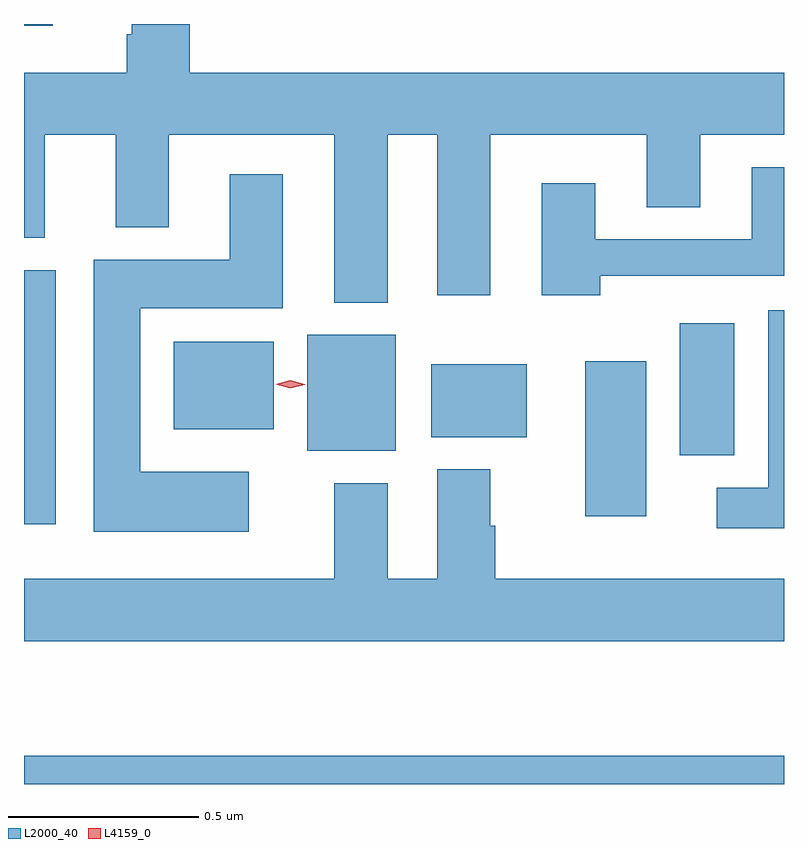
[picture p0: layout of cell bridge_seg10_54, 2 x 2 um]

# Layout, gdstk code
import gdstk
lib = gdstk.Library(unit=1e-6, precision=1e-09)
def R(c, l, rs):  # rectangles x0, y0, x1, y1
    for r in rs: c.add(gdstk.rectangle(r[:2], r[2:], *l))
def P(c, l, *ps):  # polygons
    for p in ps: c.add(gdstk.Polygon(p, *l))
L2000_40 = (2000, 40)
L4159_0 = (4159, 0)

bridge_seg10_54 = lib.new_cell('bridge_seg10_54')
R(bridge_seg10_54, L2000_40, [(866.92,1274.632,868.92,1274.707), (866.92,1275.315,867.004,1275.984), (868.397,1275.336,868.558,1275.745), (868.646,1275.497,868.789,1275.844), (867.665,1275.509,867.898,1275.814), (867.992,1275.545,868.243,1275.736), (867.314,1275.566,867.577,1275.796), (866.92,1276.628,866.996,1276.632)])
P(bridge_seg10_54, L2000_40, [(867.877,1276.34),(868.007,1276.34),(868.007,1275.918),(868.147,1275.918),(868.147,1276.34),(868.559,1276.34),(868.559,1276.15),(868.699,1276.15),(868.699,1276.34),(868.92,1276.34),(868.92,1276.504),(867.356,1276.504),(867.356,1276.632),(867.203,1276.632),(867.203,1276.605),(867.191,1276.605),(867.191,1276.504),(866.92,1276.504),(866.92,1276.069),(866.974,1276.069),(866.974,1276.34),(867.161,1276.34),(867.161,1276.097),(867.301,1276.097),(867.301,1276.34),(867.737,1276.34),(867.737,1275.899),(867.877,1275.899)],
  [(868.436,1275.969),(868.92,1275.969),(868.92,1276.255),(868.835,1276.255),(868.835,1276.065),(868.423,1276.065),(868.423,1276.213),(868.283,1276.213),(868.283,1275.918),(868.436,1275.918)],
  [(867.511,1275.454),(867.226,1275.454),(867.226,1275.884),(867.601,1275.884),(867.601,1276.237),(867.461,1276.237),(867.461,1276.012),(867.104,1276.012),(867.104,1275.296),(867.511,1275.296)],
  [(868.92,1275.879),(868.878,1275.879),(868.878,1275.412),(868.743,1275.412),(868.743,1275.305),(868.92,1275.305)],
  [(868.007,1275.46),(868.007,1275.172),(867.877,1275.172),(867.877,1275.424),(867.737,1275.424),(867.737,1275.172),(866.92,1275.172),(866.92,1275.008),(868.92,1275.008),(868.92,1275.172),(868.16,1275.172),(868.16,1275.311),(868.147,1275.311),(868.147,1275.46)])
P(bridge_seg10_54, L4159_0, [(867.62,1275.674),(867.582,1275.684),(867.581,1275.684),(867.582,1275.684),(867.621,1275.694),(867.659,1275.684),(867.66,1275.683),(867.659,1275.683)])

lib.write_gds('bridge_seg10_54.gds')
